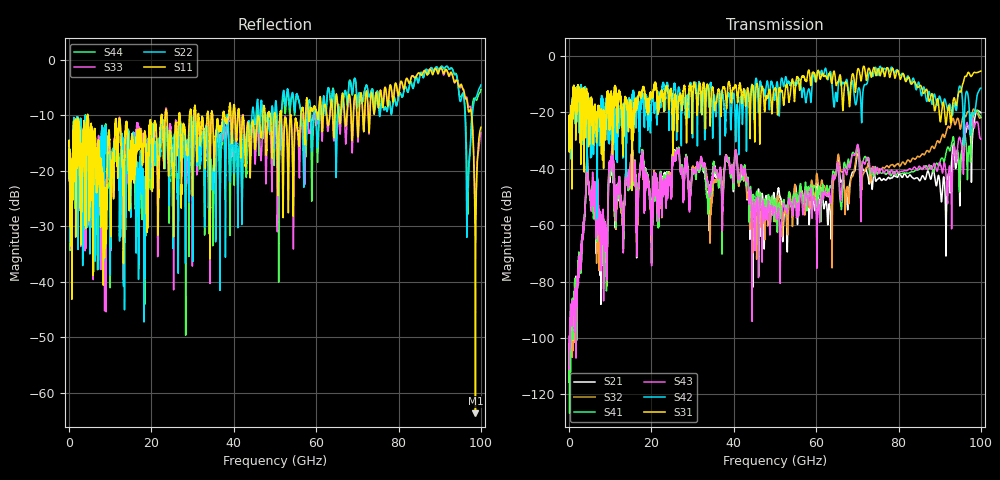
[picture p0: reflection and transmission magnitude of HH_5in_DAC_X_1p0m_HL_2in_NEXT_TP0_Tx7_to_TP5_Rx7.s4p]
# GHz S RI R 45
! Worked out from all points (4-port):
!   4000 points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, 25 MHz to 100 GHz, reference 45 ohm
!   strongest paths, dB at 25 MHz, 25.02 GHz, 50.02 GHz, 75.03 GHz, 100 GHz:
!     S31: -21.9, -15.2, -11.7, -4.6, -5.5
!     S42: -22.0, -22.6, -14.7, -7.0, -11.5
!     S43: -110.3, -37.9, -54.2, -40.2, -29.5
!     S41: -115.4, -37.2, -51.7, -41.5, -21.7
!     S32: -110.3, -37.5, -56.0, -40.4, -21.9
!     S21: -115.7, -37.0, -53.2, -43.6, -20.2
!   lowest |S11| = -63.7 dB at 98.67 GHz (marker M1), VSWR 1.00, Z = 45 - j0.0526 ohm
!   |S11| at or under -10 dB: start of sweep to 4.519 GHz; 4.527 GHz to 22.42 GHz (17.89 GHz wide, 133 % of centre); 41.38 GHz to 47.07 GHz (5.688 GHz wide, 12.9 % of centre)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
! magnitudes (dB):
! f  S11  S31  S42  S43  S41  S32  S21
! 25 MHz  -15.6  -21.9  -22.0  -110.3  -115.4  -110.3  -115.7
! 8.9 GHz  -27.9  -26.8  -17.7  -61.5  -62.9  -64.1  -67.6
! 10.25 GHz  -27.2  -16.3  -26.1  -35.7  -37.1  -36.7  -38.1
! 51.35 GHz  -9.5  -12.1  -10.6  -65.4  -57.5  -52.2  -50.2
! 91.53 GHz  -1.7  -24.4  -16.8  -41.7  -34.5  -27.3  -71.0
! 98.67 GHz  -63.7  -6.0  -18.7  -23.6  -19.8  -19.8  -20.9
! 100 GHz  -12.2  -5.5  -11.5  -29.5  -21.7  -21.9  -20.2
